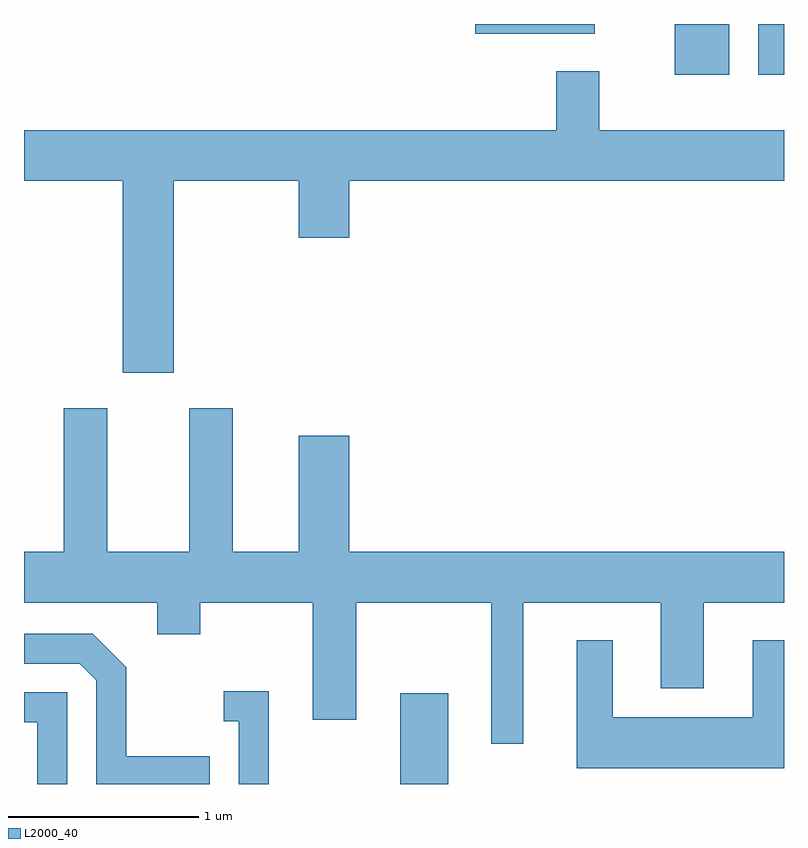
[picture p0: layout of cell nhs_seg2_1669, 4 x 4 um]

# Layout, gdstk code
import gdstk
lib = gdstk.Library(unit=1e-6, precision=1e-09)
def R(c, l, rs):  # rectangles x0, y0, x1, y1
    for r in rs: c.add(gdstk.rectangle(r[:2], r[2:], *l))
def P(c, l, *ps):  # polygons
    for p in ps: c.add(gdstk.Polygon(p, *l))
L2000_40 = (2000, 40)

nhs_seg2_1669 = lib.new_cell('nhs_seg2_1669')
R(nhs_seg2_1669, L2000_40, [(235.591,1051.802,235.844,1052.279), (237.036,1055.536,237.324,1055.802), (237.476,1055.536,237.611,1055.802), (235.986,1055.751,236.614,1055.802)])
P(nhs_seg2_1669, L2000_40, [(234.399,1054.976),(235.056,1054.976),(235.056,1054.676),(235.324,1054.676),(235.324,1054.976),(237.611,1054.976),(237.611,1055.244),(236.639,1055.244),(236.639,1055.554),(236.411,1055.554),(236.411,1055.244),(233.611,1055.244),(233.611,1054.976),(234.131,1054.976),(234.131,1053.966),(234.399,1053.966)],
  [(236.239,1052.756),(236.961,1052.756),(236.961,1052.306),(237.189,1052.306),(237.189,1052.756),(237.611,1052.756),(237.611,1053.024),(235.324,1053.024),(235.324,1053.634),(235.056,1053.634),(235.056,1053.024),(234.709,1053.024),(234.709,1053.779),(234.481,1053.779),(234.481,1053.024),(234.049,1053.024),(234.049,1053.779),(233.821,1053.779),(233.821,1053.024),(233.611,1053.024),(233.611,1052.756),(234.311,1052.756),(234.311,1052.591),(234.539,1052.591),(234.539,1052.756),(235.131,1052.756),(235.131,1052.141),(235.359,1052.141),(235.359,1052.756),(236.071,1052.756),(236.071,1052.013),(236.239,1052.013)],
  [(234.589,1051.949),(234.149,1051.949),(234.149,1052.417),(233.972,1052.594),(233.611,1052.594),(233.611,1052.436),(233.904,1052.436),(233.991,1052.349),(233.991,1051.802),(234.589,1051.802)],
  [(237.611,1052.559),(237.446,1052.559),(237.446,1052.154),(236.709,1052.154),(236.709,1052.559),(236.521,1052.559),(236.521,1051.886),(237.611,1051.886)],
  [(234.899,1052.289),(234.663,1052.289),(234.663,1052.131),(234.741,1052.131),(234.741,1051.802),(234.899,1051.802)],
  [(233.839,1052.284),(233.611,1052.284),(233.611,1052.126),(233.681,1052.126),(233.681,1051.802),(233.839,1051.802)])

lib.write_gds('nhs_seg2_1669.gds')
